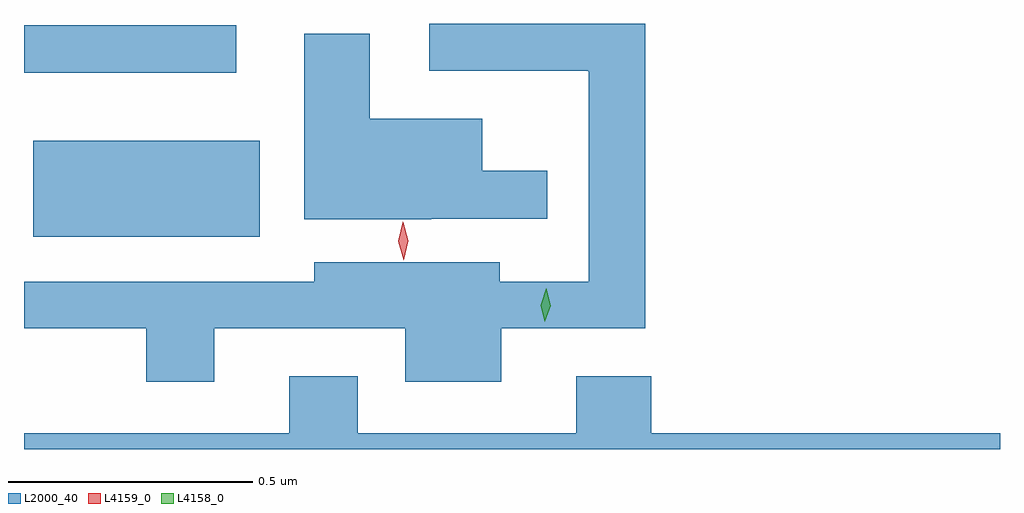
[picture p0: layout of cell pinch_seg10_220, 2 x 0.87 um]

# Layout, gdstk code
import gdstk
lib = gdstk.Library(unit=1e-6, precision=1e-09)
def R(c, l, rs):  # rectangles x0, y0, x1, y1
    for r in rs: c.add(gdstk.rectangle(r[:2], r[2:], *l))
def P(c, l, *ps):  # polygons
    for p in ps: c.add(gdstk.Polygon(p, *l))
L2000_40 = (2000, 40)
L4158_0 = (4158, 0)
L4159_0 = (4159, 0)

pinch_seg10_220 = lib.new_cell('pinch_seg10_220')
R(pinch_seg10_220, L2000_40, [(844.124,1248.935,844.588,1249.132), (844.105,1249.271,844.54,1249.368)])
P(pinch_seg10_220, L2000_40, [(844.495,1248.747),(844.886,1248.747),(844.886,1248.638),(845.083,1248.638),(845.083,1248.747),(845.378,1248.747),(845.378,1249.371),(844.935,1249.371),(844.935,1249.275),(845.261,1249.275),(845.261,1249.274),(845.262,1249.274),(845.262,1248.843),(845.08,1248.843),(845.08,1248.883),(844.7,1248.883),(844.7,1248.843),(844.105,1248.843),(844.105,1248.747),(844.355,1248.747),(844.355,1248.638),(844.495,1248.638)],
  [(844.94,1248.972),(845.177,1248.972),(845.177,1249.07),(845.044,1249.07),(845.044,1249.177),(844.813,1249.177),(844.813,1249.351),(844.679,1249.351),(844.679,1248.971),(844.94,1248.971)],
  [(846.105,1248.532),(845.39,1248.532),(845.39,1248.649),(845.237,1248.649),(845.237,1248.532),(844.789,1248.532),(844.789,1248.649),(844.649,1248.649),(844.649,1248.532),(844.105,1248.532),(844.105,1248.5),(846.105,1248.5)])
P(pinch_seg10_220, L4158_0, [(845.172,1248.761),(845.172,1248.761),(845.164,1248.795),(845.175,1248.829),(845.175,1248.829),(845.175,1248.829),(845.184,1248.794),(845.172,1248.761)])
P(pinch_seg10_220, L4159_0, [(844.883,1248.887),(844.883,1248.887),(844.872,1248.926),(844.881,1248.965),(844.881,1248.966),(844.882,1248.965),(844.892,1248.927),(844.883,1248.887)])

lib.write_gds('pinch_seg10_220.gds')
